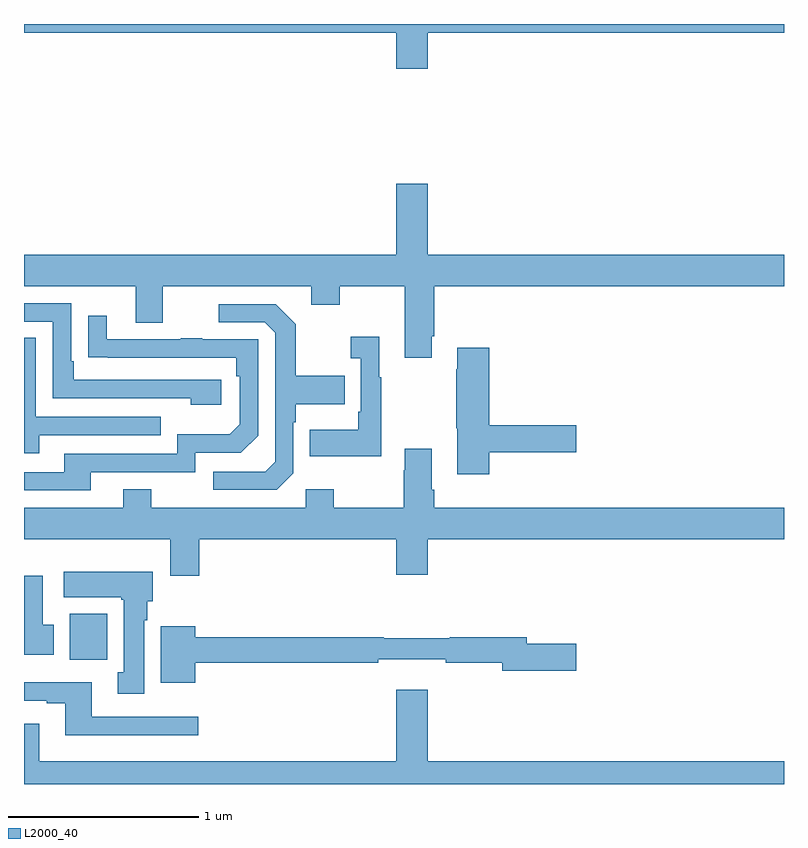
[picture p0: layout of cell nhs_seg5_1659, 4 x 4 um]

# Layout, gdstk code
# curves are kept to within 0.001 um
import gdstk
lib = gdstk.Library(unit=1e-6, precision=1e-09)
def R(c, l, rs):  # rectangles x0, y0, x1, y1
    for r in rs: c.add(gdstk.rectangle(r[:2], r[2:], *l))
def P(c, l, *ps):  # polygons
    for p in ps: c.add(gdstk.Polygon(p, *l))
L2000_40 = (2000, 40)

nhs_seg5_1659 = lib.new_cell('nhs_seg5_1659')
R(nhs_seg5_1659, L2000_40, [(211.241,861.452,211.438,861.694)])
P(nhs_seg5_1659, L2000_40, [(213.124,864.752),(215,864.752),(215,864.799),(211,864.799),(211,864.752),(212.96,864.752),(212.96,864.564),(213.124,864.564)],
  [(213.145,863.155),(213.158,863.155),(213.158,863.42),(215,863.42),(215,863.584),(213.124,863.584),(213.124,863.959),(212.96,863.959),(212.96,863.584),(211,863.584),(211,863.42),(211.589,863.42),(211.589,863.226),(211.729,863.226),(211.729,863.42),(212.513,863.42),(212.513,863.321),(212.661,863.321),(212.661,863.42),(213.005,863.42),(213.005,863.043),(213.145,863.043)],
  [(212.038,862.926),(211.261,862.926),(211.261,863.023),(211.248,863.023),(211.248,863.328),(211,863.328),(211,863.232),(211.152,863.232),(211.152,862.83),(211.877,862.83),(211.877,862.796),(212.038,862.796)],
  [(212.418,862.434),(212.418,862.703),(212.431,862.703),(212.431,862.799),(212.687,862.799),(212.687,862.947),(212.431,862.947),(212.431,863.219),(212.325,863.325),(212.025,863.325),(212.025,863.229),(212.268,863.229),(212.322,863.175),(212.322,862.494),(212.271,862.443),(211.995,862.443),(211.995,862.347),(212.331,862.347)],
  [(211.351,862.44),(211.902,862.44),(211.902,862.542),(212.142,862.542),(212.232,862.632),(212.232,863.139),(211.937,863.139),(211.937,863.144),(211.825,863.144),(211.825,863.139),(211.435,863.139),(211.435,863.263),(211.339,863.263),(211.339,863.044),(212.116,863.043),(212.116,862.946),(212.136,862.946),(212.136,862.692),(212.083,862.639),(211.806,862.639),(211.806,862.536),(211.211,862.536),(211.211,862.44),(211,862.44),(211,862.344),(211.351,862.344)],
  [(212.881,862.939),(212.869,862.939),(212.869,863.152),(212.721,863.152),(212.721,863.039),(212.772,863.039),(212.772,862.759),(212.76,862.759),(212.76,862.663),(212.503,862.663),(212.503,862.523),(212.881,862.523)],
  [(211.081,862.635),(211.721,862.635),(211.721,862.731),(211.062,862.731),(211.062,863.147),(211,863.147),(211,862.541),(211.081,862.541)],
  [(213.449,862.546),(213.907,862.546),(213.907,862.688),(213.449,862.688),(213.449,863.095),(213.281,863.095),(213.281,862.982),(213.274,862.982),(213.274,862.671),(213.281,862.671),(213.281,862.428),(213.449,862.428)],
  [(211.922,862.088),(212.96,862.088),(212.96,861.9),(213.124,861.9),(213.124,862.088),(215,862.088),(215,862.252),(213.158,862.252),(213.158,862.348),(213.145,862.348),(213.145,862.564),(213.005,862.564),(213.005,862.451),(212.998,862.451),(212.998,862.252),(212.631,862.252),(212.631,862.351),(212.484,862.351),(212.484,862.252),(211.671,862.252),(211.671,862.351),(211.523,862.351),(211.523,862.252),(211,862.252),(211,862.088),(211.769,862.088),(211.769,861.894),(211.922,861.894)],
  [(211.633,861.662),(211.648,861.662),(211.648,861.762),(211.678,861.762),(211.678,861.916),(211.209,861.916),(211.209,861.782),(211.513,861.782),(211.513,861.769),(211.526,861.769),(211.526,861.386),(211.493,861.386),(211.493,861.273),(211.633,861.273)],
  [(211.156,861.636),(211.099,861.636),(211.099,861.895),(211,861.895),(211,861.48),(211.156,861.48)],
  [(211.9,861.436),(212.864,861.436),(212.864,861.455),(213.22,861.455),(213.22,861.436),(213.518,861.436),(213.518,861.394),(213.907,861.394),(213.907,861.536),(213.646,861.536),(213.646,861.572),(213.242,861.572),(213.242,861.565),(212.893,861.565),(212.893,861.572),(211.9,861.572),(211.9,861.628),(211.721,861.628),(211.721,861.332),(211.9,861.332)],
  [(211.918,861.153),(211.357,861.153),(211.357,861.334),(211,861.334),(211,861.237),(211.121,861.237),(211.121,861.225),(211.217,861.225),(211.217,861.056),(211.918,861.056)],
  [(215,860.92),(213.124,860.92),(213.124,861.295),(212.96,861.295),(212.96,860.92),(211.081,860.92),(211.081,861.115),(211,861.115),(211,860.799),(215,860.799)])

lib.write_gds('nhs_seg5_1659.gds')
